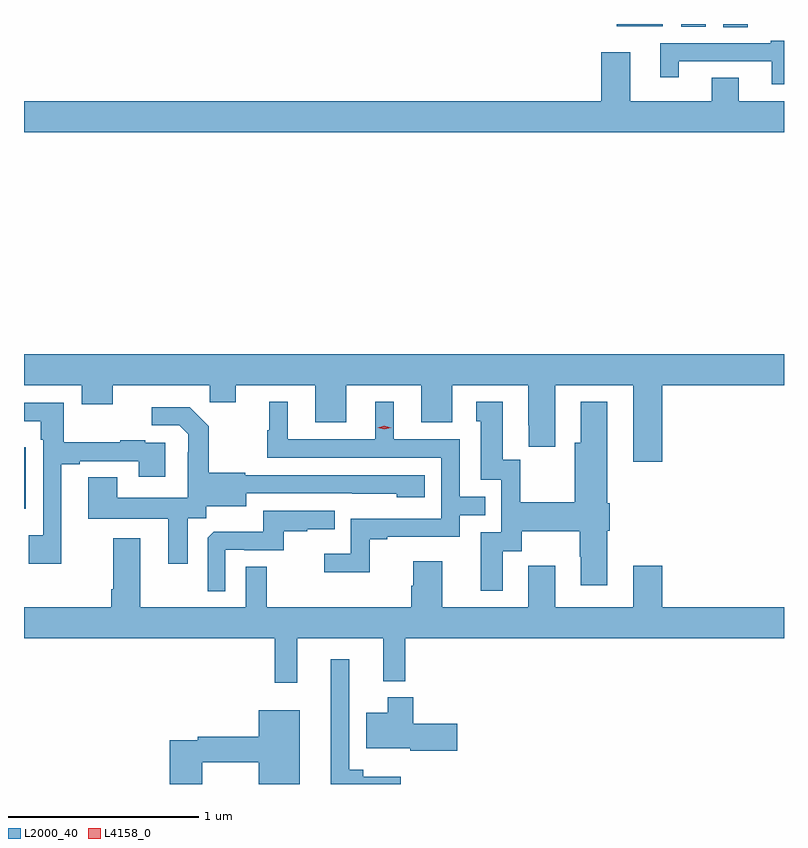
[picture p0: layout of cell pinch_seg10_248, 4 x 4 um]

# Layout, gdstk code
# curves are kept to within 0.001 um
import gdstk
lib = gdstk.Library(unit=1e-6, precision=1e-09)
def R(c, l, rs):  # rectangles x0, y0, x1, y1
    for r in rs: c.add(gdstk.rectangle(r[:2], r[2:], *l))
def P(c, l, *ps):  # polygons
    for p in ps: c.add(gdstk.Polygon(p, *l))
L2000_40 = (2000, 40)
L4158_0 = (4158, 0)

pinch_seg10_248 = lib.new_cell('pinch_seg10_248')
R(pinch_seg10_248, L2000_40, [(564.83,1297.002,564.84,1297.327), (568.511,1299.538,568.639,1299.554), (568.289,1299.54,568.417,1299.554), (567.95,1299.542,568.192,1299.554)])
P(pinch_seg10_248, L2000_40, [(568.83,1299.466),(568.76,1299.466),(568.76,1299.453),(568.178,1299.453),(568.178,1299.273),(568.276,1299.273),(568.276,1299.357),(568.766,1299.357),(568.766,1299.237),(568.83,1299.237)],
  [(568.83,1299.148),(568.591,1299.148),(568.591,1299.272),(568.451,1299.272),(568.451,1299.148),(568.021,1299.148),(568.021,1299.406),(567.869,1299.406),(567.869,1299.148),(564.83,1299.148),(564.83,1298.984),(568.83,1298.984)],
  [(568.19,1297.652),(568.83,1297.652),(568.83,1297.816),(564.83,1297.816),(564.83,1297.652),(565.133,1297.652),(565.133,1297.553),(565.297,1297.553),(565.297,1297.652),(565.807,1297.652),(565.807,1297.562),(565.945,1297.562),(565.945,1297.652),(566.363,1297.652),(566.363,1297.458),(566.527,1297.458),(566.527,1297.652),(566.921,1297.652),(566.921,1297.458),(567.085,1297.458),(567.085,1297.652),(567.485,1297.652),(567.485,1297.441),(567.487,1297.441),(567.487,1297.329),(567.625,1297.329),(567.625,1297.652),(568.037,1297.652),(568.037,1297.251),(568.19,1297.251)],
  [(566.649,1296.843),(566.743,1296.843),(566.743,1296.855),(567.123,1296.855),(567.123,1296.969),(567.257,1296.969),(567.257,1297.065),(567.123,1297.065),(567.123,1297.368),(566.776,1297.368),(566.776,1297.567),(566.678,1297.567),(566.678,1297.368),(566.218,1297.368),(566.218,1297.567),(566.12,1297.567),(566.12,1297.416),(566.109,1297.416),(566.109,1297.272),(567.027,1297.272),(567.027,1296.951),(566.55,1296.951),(566.55,1296.766),(566.409,1296.766),(566.409,1296.668),(566.649,1296.668)],
  [(567.349,1296.778),(567.451,1296.778),(567.451,1296.884),(567.754,1296.884),(567.754,1296.75),(567.761,1296.75),(567.761,1296.6),(567.901,1296.6),(567.901,1296.888),(567.914,1296.888),(567.914,1297.032),(567.901,1297.032),(567.901,1297.567),(567.761,1297.567),(567.761,1297.351),(567.728,1297.351),(567.728,1297.036),(567.442,1297.036),(567.442,1297.261),(567.349,1297.261),(567.349,1297.567),(567.209,1297.567),(567.209,1297.464),(567.233,1297.464),(567.233,1297.155),(567.342,1297.155),(567.342,1296.879),(567.233,1296.879),(567.233,1296.57),(567.349,1296.57)],
  [(565.027,1297.236),(565.123,1297.236),(565.123,1297.254),(565.433,1297.254),(565.433,1297.17),(565.573,1297.17),(565.573,1297.35),(565.469,1297.35),(565.469,1297.363),(565.337,1297.363),(565.337,1297.352),(565.039,1297.352),(565.039,1297.56),(564.83,1297.56),(564.83,1297.463),(564.918,1297.463),(564.918,1297.367),(564.93,1297.367),(564.93,1296.862),(564.855,1296.862),(564.855,1296.714),(565.027,1296.714)],
  [(565.693,1296.952),(565.788,1296.952),(565.788,1297.016),(565.999,1297.016),(565.999,1297.083),(566.793,1297.082),(566.793,1297.064),(566.938,1297.064),(566.938,1297.179),(565.995,1297.179),(565.995,1297.192),(565.803,1297.192),(565.803,1297.437),(565.703,1297.537),(565.503,1297.537),(565.503,1297.443),(565.647,1297.443),(565.694,1297.396),(565.694,1297.301),(565.692,1297.301),(565.692,1297.06),(565.321,1297.06),(565.321,1297.169),(565.169,1297.169),(565.169,1296.95),(565.589,1296.95),(565.589,1296.714),(565.693,1296.714)],
  [(565.89,1296.786),(565.99,1296.786),(565.99,1296.783),(566.198,1296.783),(566.198,1296.885),(566.321,1296.885),(566.321,1296.896),(566.465,1296.896),(566.465,1296.993),(566.088,1296.993),(566.088,1296.881),(565.829,1296.881),(565.797,1296.849),(565.797,1296.569),(565.89,1296.569)],
  [(566.267,1296.32),(566.72,1296.32),(566.72,1296.095),(566.837,1296.095),(566.837,1296.32),(568.83,1296.32),(568.83,1296.484),(568.19,1296.484),(568.19,1296.703),(568.037,1296.703),(568.037,1296.484),(567.625,1296.484),(567.625,1296.703),(567.485,1296.703),(567.485,1296.484),(567.031,1296.484),(567.031,1296.727),(566.879,1296.727),(566.879,1296.597),(566.867,1296.597),(566.867,1296.484),(566.107,1296.484),(566.107,1296.698),(565.998,1296.698),(565.998,1296.484),(565.441,1296.484),(565.441,1296.847),(565.301,1296.847),(565.301,1296.58),(565.289,1296.58),(565.289,1296.484),(564.83,1296.484),(564.83,1296.32),(566.149,1296.32),(566.149,1296.087),(566.267,1296.087)],
  [(566.814,1295.593),(566.615,1295.593),(566.615,1295.629),(566.541,1295.629),(566.541,1296.211),(566.444,1296.211),(566.444,1295.554),(566.814,1295.554)],
  [(567.109,1295.871),(566.879,1295.871),(566.879,1296.01),(566.744,1296.01),(566.744,1295.929),(566.63,1295.929),(566.63,1295.741),(566.862,1295.741),(566.862,1295.729),(567.109,1295.729)],
  [(565.768,1295.668),(566.066,1295.668),(566.066,1295.554),(566.281,1295.554),(566.281,1295.941),(566.066,1295.941),(566.066,1295.804),(565.744,1295.804),(565.744,1295.784),(565.598,1295.784),(565.598,1295.554),(565.768,1295.554)])
P(pinch_seg10_248, L4158_0, [(566.727,1297.42),(566.691,1297.43),(566.691,1297.43),(566.691,1297.43),(566.727,1297.44),(566.762,1297.43),(566.763,1297.43),(566.762,1297.43)])

lib.write_gds('pinch_seg10_248.gds')
